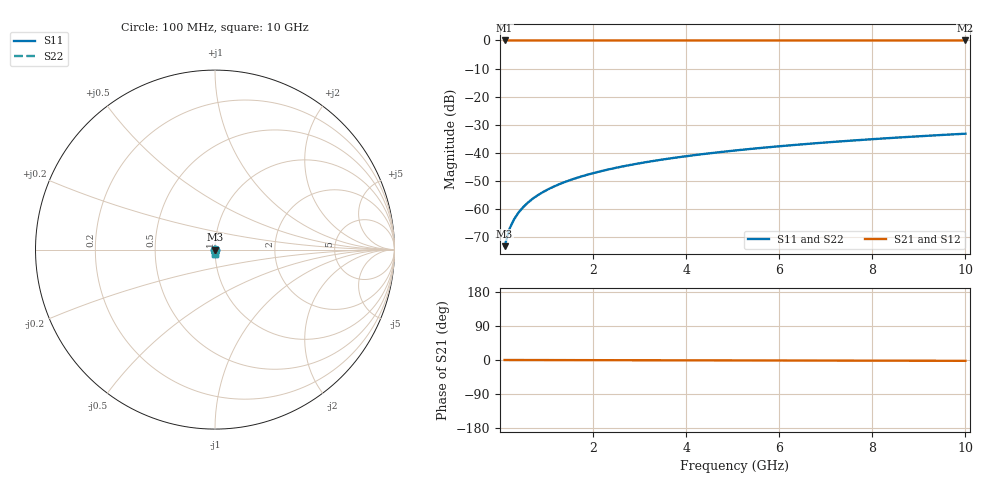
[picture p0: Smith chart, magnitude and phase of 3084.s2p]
# Hz S RI R 50.00
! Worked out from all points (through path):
!   100 points, 100 MHz to 10 GHz, reference 50 ohm
!   highest |S21| = 0.00 dB at 100 MHz (marker M1); lowest = 0.0 dB at 10 GHz (marker M2)
!   lowest |S11| = -73.2 dB at 100 MHz (marker M3), VSWR 1.00, Z = 50 - j0.0218 ohm
!   |S11| at or under -10 dB: start of sweep to end of sweep
!   |S22| runs from -73.2 to -33.2 dB; largest |S21 - S12| = 0
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1e8  2.86e-05 -0.000218  1 -0.000376  1 -0.000376  2.86e-05 -0.000218
2e8  2.83e-05 -0.000435  1 -0.000751  1 -0.000751  2.83e-05 -0.000435
3e8  2.77e-05 -0.000653  1 -0.00113  1 -0.00113  2.77e-05 -0.000653
4e8  2.7e-05 -0.00087  1 -0.0015  1 -0.0015  2.7e-05 -0.00087
5e8  2.61e-05 -0.00109  1 -0.00188  1 -0.00188  2.61e-05 -0.00109
6e8  2.5e-05 -0.00131  1 -0.00225  1 -0.00225  2.5e-05 -0.00131
7e8  2.37e-05 -0.00152  1 -0.00263  1 -0.00263  2.37e-05 -0.00152
8e8  2.23e-05 -0.00174  1 -0.00301  1 -0.00301  2.23e-05 -0.00174
9e8  2.07e-05 -0.00196  1 -0.00338  1 -0.00338  2.07e-05 -0.00196
1.1e9  1.7e-05 -0.00239  1 -0.00413  1 -0.00413  1.7e-05 -0.00239
1.4e9  1.02e-05 -0.00305  0.9999 -0.00526  0.9999 -0.00526  1.02e-05 -0.00305
1.8e9  -1.24e-06 -0.00392  0.9999 -0.00677  0.9999 -0.00677  -1.24e-06 -0.00392
2.1e9  -1.15e-05 -0.00457  0.9999 -0.0079  0.9999 -0.0079  -1.15e-05 -0.00457
2.5e9  -2.76e-05 -0.00545  0.9999 -0.00941  0.9999 -0.00941  -2.76e-05 -0.00545
2.9e9  -4.63e-05 -0.00632  0.9999 -0.0109  0.9999 -0.0109  -4.63e-05 -0.00632
3.4e9  -7.34e-05 -0.00741  0.9998 -0.0128  0.9998 -0.0128  -7.34e-05 -0.00741
4.2e9  -0.000126 -0.00917  0.9998 -0.0158  0.9998 -0.0158  -0.000126 -0.00917
5.1e9  -0.000197 -0.0111  0.9997 -0.0192  0.9997 -0.0192  -0.000197 -0.0111
5.9e9  -0.000272 -0.0129  0.9996 -0.0223  0.9996 -0.0223  -0.000272 -0.0129
6.7e9  -0.000358 -0.0147  0.9995 -0.0253  0.9995 -0.0253  -0.000358 -0.0147
8.4e9  -0.000576 -0.0184  0.9993 -0.0318  0.9993 -0.0318  -0.000576 -0.0184
1e10  -0.000827 -0.0219  0.999 -0.0379  0.999 -0.0379  -0.000827 -0.0219
